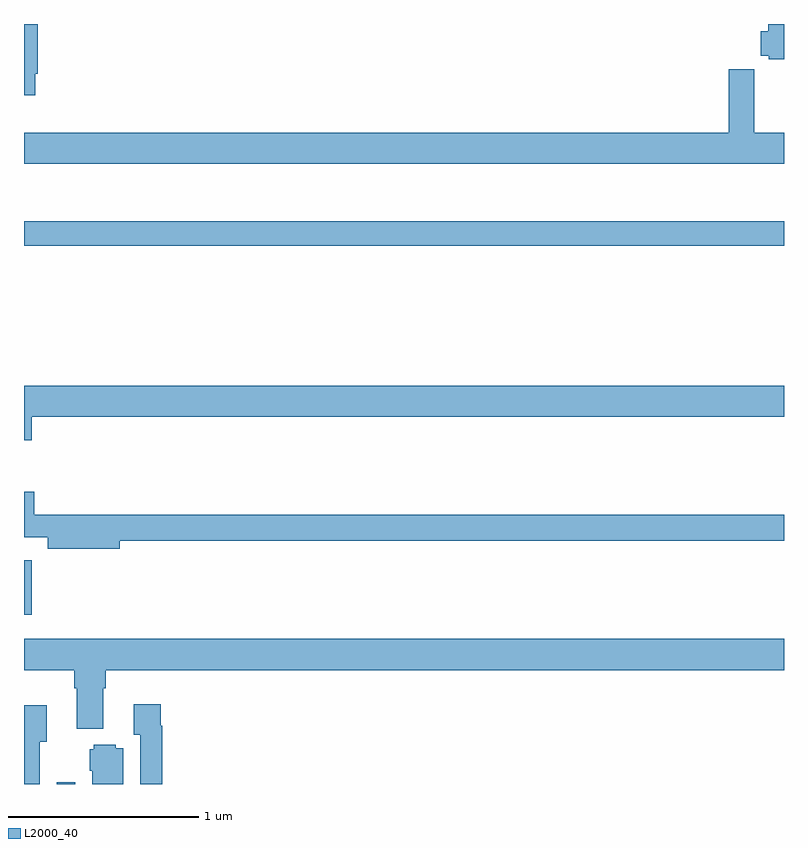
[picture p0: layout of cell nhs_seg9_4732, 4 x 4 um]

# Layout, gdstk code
import gdstk
lib = gdstk.Library(unit=1e-6, precision=1e-09)
def R(c, l, rs):  # rectangles x0, y0, x1, y1
    for r in rs: c.add(gdstk.rectangle(r[:2], r[2:], *l))
def P(c, l, *ps):  # polygons
    for p in ps: c.add(gdstk.Polygon(p, *l))
L2000_40 = (2000, 40)

nhs_seg9_4732 = lib.new_cell('nhs_seg9_4732')
R(nhs_seg9_4732, L2000_40, [(385.173,1182.5,385.269,1182.508), (385,1183.392,385.04,1183.678), (385,1185.334,389,1185.463)])
P(nhs_seg9_4732, L2000_40, [(385.06,1186.237),(385.073,1186.237),(385.073,1186.5),(385,1186.5),(385,1186.125),(385.06,1186.125)],
  [(389,1186.5),(388.916,1186.5),(388.916,1186.462),(388.878,1186.462),(388.878,1186.334),(388.92,1186.334),(388.92,1186.315),(389,1186.315)],
  [(389,1185.928),(388.844,1185.928),(388.844,1186.148),(388.843,1186.148),(388.843,1186.261),(388.708,1186.261),(388.708,1185.928),(385,1185.928),(385,1185.764),(389,1185.764)],
  [(385.04,1184.432),(389,1184.432),(389,1184.596),(385,1184.596),(385,1184.308),(385.04,1184.308)],
  [(385.504,1183.78),(389,1183.78),(389,1183.916),(385.354,1183.916),(385.354,1183.917),(385.055,1183.917),(385.055,1184.038),(385,1184.038),(385,1183.799),(385.124,1183.799),(385.124,1183.738),(385.504,1183.738)],
  [(385.417,1183.004),(385.43,1183.004),(385.43,1183.1),(389,1183.1),(389,1183.264),(385,1183.264),(385,1183.1),(385.265,1183.1),(385.265,1183.004),(385.277,1183.004),(385.277,1182.791),(385.417,1182.791)],
  [(385.727,1182.806),(385.72,1182.806),(385.72,1182.919),(385.577,1182.919),(385.577,1182.758),(385.611,1182.758),(385.611,1182.5),(385.727,1182.5)],
  [(385.083,1182.722),(385.12,1182.722),(385.12,1182.914),(385,1182.914),(385,1182.5),(385.083,1182.5)],
  [(385.522,1182.688),(385.482,1182.688),(385.482,1182.706),(385.368,1182.706),(385.368,1182.684),(385.346,1182.684),(385.346,1182.57),(385.358,1182.57),(385.358,1182.5),(385.522,1182.5)])

lib.write_gds('nhs_seg9_4732.gds')
